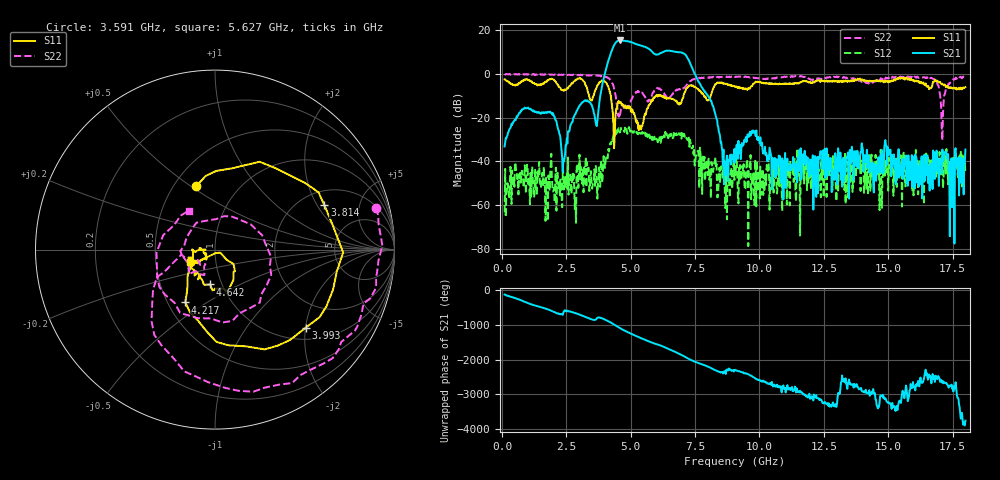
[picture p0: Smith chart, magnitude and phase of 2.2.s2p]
!Keysight Technologies N9917A: A.08.15
!Date: Friday, 29 September 2017 09:26:34
!Timezone: (GMT-08:00) Pacific Time (US & Canada)
!Model: N9917A
!Serial: MY53102735
!GPS Latitude:
!GPS Longitude:
!GPS TimeStamp: 0001-01-01 00:00:00Z
!GPS Seconds Since Last Read: 0
!CHECKSUM:1383951784
!Correction: S11(ON U)S21(ON U)S12(ON U)S22(ON U)
!S2P File: Measurements:S11,S21,S12,S22:
# Hz S DB R 50
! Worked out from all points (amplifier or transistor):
!   801 points, 100 MHz to 18 GHz, reference 50 ohm
!   highest |S21| = 15.4 dB at 4.575 GHz (marker M1)
!   |S21| within 3 dB of that: 4.319 GHz to 5.57 GHz (1.25 GHz wide, 25.3 % of centre)
!   unconditionally stable (mu >= 1): 662.1 MHz to 1.217 GHz; 1.22 GHz to 1.485 GHz; 1.489 GHz to end of sweep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
!   at 3.076 GHz: K = 30.47, MAG = -0.4 dB, |S12| = -48.5 dB
!   at 9.05 GHz: K = 1857.04, MAG = -33.6 dB, |S12| = -44.9 dB
!   at 18 GHz: K = 765.71, MAG = -26.3 dB, |S12| = -45.6 dB
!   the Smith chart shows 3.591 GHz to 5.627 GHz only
!   S11 on the Smith chart (normalised r, x): 3.591 GHz: 0.64, +0.53; 3.814 GHz: 2.66, +2.32; 3.993 GHz: 1.28, -2.01; 4.217 GHz: 0.61, -0.41; 4.642 GHz: 0.88, -0.36; 5.627 GHz: 0.75, -0.11
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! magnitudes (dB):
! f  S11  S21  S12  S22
! 100 MHz  -2.4  -33.2  -63.3  0.0
! 1.845 GHz  -2.4  -17.6  -53.5  -0.2
! 2.405 GHz  -7.6  -40.1  -52.9  -0.2
! 3.098 GHz  -2.3  -13.1  -45.5  -0.5
! 3.591 GHz  -8.7  -18.6  -43.6  -0.7
! 3.814 GHz  -3.6  -10.1  -51.7  -0.8
! 3.993 GHz  -3.5  0.3  -43.0  -1.2
! 4.217 GHz  -9.4  9.3  -31.5  -2.9
! 4.575 GHz  -13.2  15.4  -26.8  -19.0
! 4.642 GHz  -14.2  15.3  -25.0  -16.0
! 5.627 GHz  -16.0  12.1  -28.4  -11.6
! 6.074 GHz  -9.6  9.0  -29.4  -6.8
! 7.148 GHz  -6.9  8.6  -29.8  -5.5
! 8.177 GHz  -7.4  -14.4  -43.2  -1.5
! 8.714 GHz  -4.5  -40.1  -46.8  -1.2
! 9.05 GHz  -5.9  -40.6  -44.9  -1.3
! 9.788 GHz  -4.3  -26.2  -56.5  -1.8
! 12.05 GHz  -4.1  -45.2  -50.3  -2.7
! 15.02 GHz  -3.6  -37.0  -38.4  -1.6
! 17.11 GHz  -4.4  -34.6  -35.0  -30.3
! 17.49 GHz  -6.6  -61.0  -39.1  -3.5
! 18 GHz  -6.0  -34.6  -45.6  -1.0
